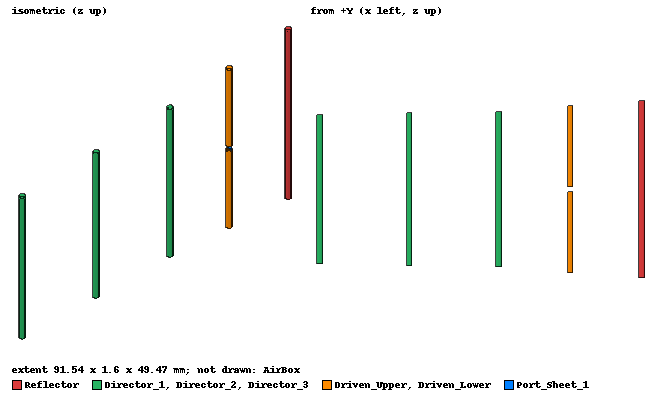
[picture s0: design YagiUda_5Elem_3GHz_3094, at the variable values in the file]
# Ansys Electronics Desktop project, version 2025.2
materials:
  vacuum: permittivity=1
  pec: conductivity=1e+30

design YagiUda_5Elem_3GHz_3094 (HFSS, HFSS Hybrid Modal Network, model units mm)
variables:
  f0 = 3GHz
  lambda0 = 99.9308mm
  r_rod = 0.8mm
  g_feed = 1.2mm
  L_ref = 49.4658mm
  L_drv = 46.4678mm
  x_ref = -19.9862mm
  L_dir1 = 43.4699mm
  x_dir1 = 19.9862mm
  L_dir2 = 42.4706mm
  x_dir2 = 44.9689mm
  L_dir3 = 41.4713mm
  x_dir3 = 69.9516mm
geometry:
  Reflector [pec] = cylinder(axis=Z, base_centre=(-19.9862mm, 0mm, -24.7329mm), radius=0.8mm, height=49.4658mm)
  Driven_Upper [pec] = cylinder(axis=Z, base_centre=(0mm, 0mm, 0.6mm), radius=0.8mm, height=22.6339mm)
  Driven_Lower [pec] = cylinder(axis=Z, base_centre=(0mm, 0mm, -0.6mm), radius=0.8mm, height=-22.6339mm)
  Port_Sheet_1 = rectangle(corner=(0mm, -0.8mm, -0.6mm), y_size=1.6mm, z_size=1.2mm)
  Director_1 [pec] = cylinder(axis=Z, base_centre=(19.9862mm, 0mm, -21.735mm), radius=0.8mm, height=43.4699mm)
  Director_2 [pec] = cylinder(axis=Z, base_centre=(44.9689mm, 0mm, -21.2353mm), radius=0.8mm, height=42.4706mm)
  Director_3 [pec] = cylinder(axis=Z, base_centre=(69.9516mm, 0mm, -20.7356mm), radius=0.8mm, height=41.4713mm)
  AirBox [vacuum] = box(corner=(-32.4775mm, -12.4914mm, -37.2242mm), size=(114.9204mm, 24.9827mm, 74.4485mm))
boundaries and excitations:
  Rad_AirBox: Radiation Objects=AirBox
  Port1: Lumped Port Objects=Port_Sheet_1 LumpedPortType=Modal Modes{Mode1{IntLine{(0, 0, -0.6) -> (0, 0, 0.6)} CharImp=Zpi RenormImp=50ohm}} Impedance=50ohm
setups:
  Setup_3GHz: HfssDriven Frequency=3GHz MaxDeltaS=0.02 MaximumPasses=10 MinimumPasses=2 MinimumConvergedPasses=2 PercentRefinement=30 BasisOrder=1 PortAccuracy=2 DrivenSolverType="Direct Solver"
    sweep Sweep_2p5_to_3p5GHz: 2.5GHz to 3.5GHz, 41 points; Type=Interpolating InterpTolerance=0.5 InterpMaxSolns=250 InterpUsePortImped=false PassivityErrorTolerance=0.0001
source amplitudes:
  Port1:1: 1W 0deg
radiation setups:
  Infinite_Sphere_3D: Infinite Sphere Theta=-180deg..180deg step 5deg Phi=-180deg..180deg step 5deg
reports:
  Return_Loss_S11_dB: dB(S(Port1,Port1)) vs Freq on Setup_3GHz : Sweep_2p5_to_3p5GHz; markers m1 at 2.85GHz
  Yagi_H_Plane_Azimuth_XY: dB(GainTotal), dB(DirTotal) vs Phi on Setup_3GHz : LastAdaptive, Infinite_Sphere_3D [Theta=90deg Freq=3GHz]
  Yagi_E_Plane_Elevation_XZ: dB(GainTotal), dB(DirTotal) vs Theta on Setup_3GHz : LastAdaptive, Infinite_Sphere_3D [Phi=0deg Freq=3GHz]
  3D_Yagi_Gain_Pattern: dB(GainTotal) vs Phi, Theta on Setup_3GHz : LastAdaptive, Infinite_Sphere_3D [Freq=3GHz]
